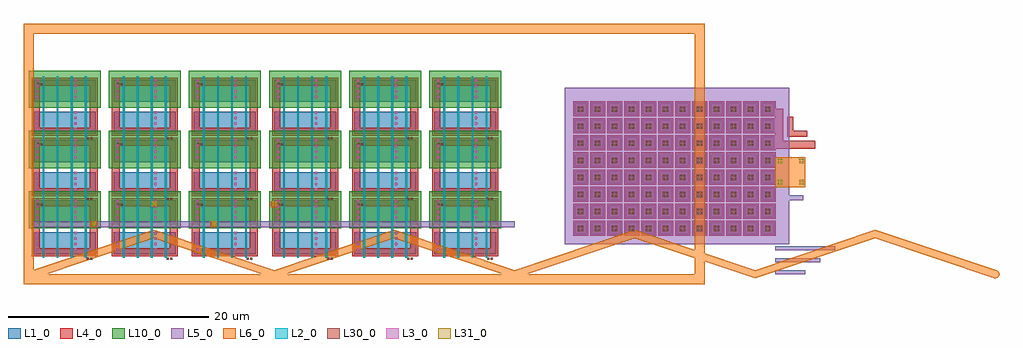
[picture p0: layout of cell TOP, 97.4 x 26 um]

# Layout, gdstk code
import gdstk
lib = gdstk.Library(unit=1e-6, precision=1e-09)
def R(c, l, rs):  # rectangles x0, y0, x1, y1
    for r in rs: c.add(gdstk.rectangle(r[:2], r[2:], *l))
def A(c, l, x, y, w, h, nx, ny, dx, dy):  # array of equal rectangles
    R(c, l, [(x+i*dx, y+j*dy, x+i*dx+w, y+j*dy+h) for i in range(nx) for j in range(ny)])
def P(c, l, *ps):  # polygons
    for p in ps: c.add(gdstk.Polygon(p, *l))
L1_0 = (1, 0)
L2_0 = (2, 0)
L3_0 = (3, 0)
L4_0 = (4, 0)
L5_0 = (5, 0)
L6_0 = (6, 0)
L10_0 = (10, 0)
L30_0 = (30, 0)
L31_0 = (31, 0)

patterns = lib.new_cell('PATTERNS')
P(patterns, L4_0, [(1.2,13.7),(1.2,15.7),(1.8,15.7),(1.8,14.3),(3.2,14.3),(3.2,13.7)],
  [(0,12.5),(0,16.5),(0.8,16.5),(0.8,13.3),(4,13.3),(4,12.5)])
R(patterns, L5_0, [(0,0,3,0.4), (0,1.2,4.5,1.6), (0,2.4,6,2.8), (0.8,4.4,1.3,7.9), (-0.7,7.4,2.8,7.9)])
R(patterns, L6_0, [(0,8.7,3,11.7)])
R(patterns, L31_0, [(0.25,8.95,0.43,9.13), (0.53,8.95,0.71,9.13), (2.39,8.95,2.57,9.13), (2.67,8.95,2.85,9.13), (0.25,9.23,0.43,9.41), (0.53,9.23,0.71,9.41), (2.39,9.23,2.57,9.41), (2.67,9.23,2.85,9.41), (0.25,11.09,0.43,11.27), (0.53,11.09,0.71,11.27), (2.39,11.09,2.57,11.27), (2.67,11.09,2.85,11.27), (0.25,11.37,0.43,11.55), (0.53,11.37,0.71,11.55), (2.39,11.37,2.57,11.55), (2.67,11.37,2.85,11.55)])

mem_bit = lib.new_cell('MEM_BIT')
R(mem_bit, L1_0, [(0,0,1.2,1.2)])
R(mem_bit, L4_0, [(-0.15,-0.15,1.35,1.35)])
R(mem_bit, L5_0, [(-0.15,1.5,1.35,1.8)])
R(mem_bit, L30_0, [(0.3,0.3,0.52,0.52), (0.62,0.3,0.84,0.52), (0.3,0.62,0.52,0.84), (0.62,0.62,0.84,0.84)])

mem_macro = lib.new_cell('MEM_MACRO')
R(mem_macro, L5_0, [(-1,-1,21.4,14.6)])
r = gdstk.Reference(mem_bit, (0,0)); r.repetition = gdstk.Repetition(12, 8, v1=(1.7,0), v2=(0,1.7)); mem_macro.add(r)
mem_macro.add(gdstk.Label('MEMORY', (10.2,14.2), layer=64, texttype=0))

std_inv = lib.new_cell('STD_INV')
R(std_inv, L1_0, [(0,0,6.2,2.2), (0,3.2,6.2,5.4)])
A(std_inv, L2_0, 0.91, -0.35, 0.18, 6.1, 4, 1, 1.4, 0)
A(std_inv, L3_0, 0.25, 0.35, 0.25, 0.25, 1, 4, 0, 0.55)
A(std_inv, L3_0, 4.05, 0.35, 0.25, 0.25, 1, 4, 0, 0.55)
A(std_inv, L3_0, 0.25, 3.55, 0.25, 0.25, 1, 4, 0, 0.55)
A(std_inv, L3_0, 4.05, 3.55, 0.25, 0.25, 1, 4, 0, 0.55)
R(std_inv, L4_0, [(-0.2,-0.2,6.4,0.6), (-0.2,-0.2,0.6,5.6), (5.6,-0.2,6.4,5.6), (-0.2,4.8,6.4,5.6)])
R(std_inv, L10_0, [(-0.5,2.6,6.7,6.3)])
R(std_inv, L30_0, [(5.3,-0.55,5.5,-0.35), (5.65,-0.55,5.85,-0.35), (0.35,4.85,0.55,5.05), (0.7,4.85,0.9,5.05)])
std_inv.add(gdstk.Label('STD_INV', (3.1,6.1), layer=64, texttype=0))

std_row = lib.new_cell('STD_ROW')
r = gdstk.Reference(std_inv, (0,0)); r.repetition = gdstk.Repetition(6, 1, v1=(8,0), v2=(0,0)); std_row.add(r)

top = lib.new_cell('TOP')
R(top, L6_0, [(-1,-3,0,23), (-1,-3,67,-2), (66,-3,67,23), (5.7,2.7,6.3,3.3), (17.7,2.7,18.3,3.3), (11.7,4.7,12.3,5.3), (23.7,4.7,24.3,5.3), (-1,22,67,23)])
P(top, L6_0, [(24,-2.422),(12,1.578),(0.126,-2.379),(-0.051,-2.397),(-0.218,-2.335),(-0.342,-2.208),(-0.398,-2.039),(-0.376,-1.862),(-0.279,-1.713),(-0.126,-1.621),(12,2.422),(24,-1.578),(36,2.422),(48,-1.578),(60,2.422),(72,-1.578),(84,2.422),(96.126,-1.621),(96.279,-1.713),(96.376,-1.862),(96.398,-2.039),(96.342,-2.208),(96.218,-2.335),(96.051,-2.397),(95.874,-2.379),(84,1.578),(72,-2.422),(60,1.578),(48,-2.422),(36,1.578)])
R(top, L31_0, [(5.8,2.8,5.98,2.98), (6.1,2.8,6.28,2.98), (17.8,2.8,17.98,2.98), (18.1,2.8,18.28,2.98), (5.8,3.1,5.98,3.28), (6.1,3.1,6.28,3.28), (17.8,3.1,17.98,3.28), (18.1,3.1,18.28,3.28), (11.8,4.8,11.98,4.98), (12.1,4.8,12.28,4.98), (23.8,4.8,23.98,4.98), (24.1,4.8,24.28,4.98), (11.8,5.1,11.98,5.28), (12.1,5.1,12.28,5.28), (23.8,5.1,23.98,5.28), (24.1,5.1,24.28,5.28)])
top.add(gdstk.FlexPath([(0,3),(48,3)], 0.6, ends="flush", simple_path=True, layer=5, datatype=0))  # L5_0
top.add(gdstk.Reference(patterns, (74,-2)))
top.add(gdstk.Reference(mem_macro, (54,2)))
top.add(gdstk.Reference(std_row, (0,0)))
top.add(gdstk.Reference(std_row, (0,6)))
top.add(gdstk.Reference(std_row, (0,12)))

lib.write_gds('TOP.gds')
